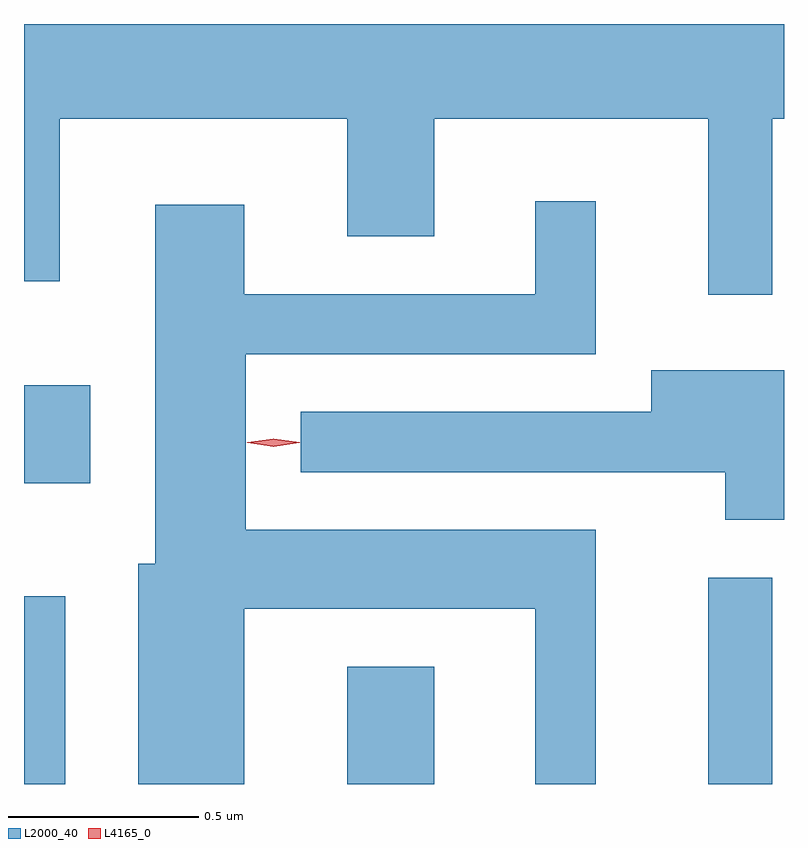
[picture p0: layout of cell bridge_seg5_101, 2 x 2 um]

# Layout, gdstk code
import gdstk
lib = gdstk.Library(unit=1e-6, precision=1e-09)
def R(c, l, rs):  # rectangles x0, y0, x1, y1
    for r in rs: c.add(gdstk.rectangle(r[:2], r[2:], *l))
def P(c, l, *ps):  # polygons
    for p in ps: c.add(gdstk.Polygon(p, *l))
L2000_40 = (2000, 40)
L4165_0 = (4165, 0)

bridge_seg5_101 = lib.new_cell('bridge_seg5_101')
R(bridge_seg5_101, L2000_40, [(1059.66,1461.705,1059.769,1462.199), (1060.511,1461.705,1060.739,1462.014), (1061.461,1461.705,1061.629,1462.248), (1059.66,1462.496,1059.834,1462.754)])
P(bridge_seg5_101, L2000_40, [(1061.629,1463.456),(1061.66,1463.456),(1061.66,1463.705),(1059.66,1463.705),(1059.66,1463.028),(1059.754,1463.028),(1059.754,1463.456),(1060.511,1463.456),(1060.511,1463.146),(1060.739,1463.146),(1060.739,1463.456),(1061.461,1463.456),(1061.461,1462.993),(1061.629,1462.993)],
  [(1060.239,1462.166),(1061.006,1462.166),(1061.006,1461.705),(1061.164,1461.705),(1061.164,1462.374),(1060.244,1462.374),(1060.244,1462.836),(1061.164,1462.836),(1061.164,1463.238),(1061.006,1463.238),(1061.006,1462.994),(1060.239,1462.994),(1060.239,1463.229),(1060.006,1463.229),(1060.006,1462.284),(1059.961,1462.284),(1059.961,1461.705),(1060.239,1461.705)],
  [(1061.66,1462.794),(1061.311,1462.794),(1061.311,1462.684),(1060.388,1462.684),(1060.388,1462.526),(1061.506,1462.526),(1061.506,1462.401),(1061.66,1462.401)])
P(bridge_seg5_101, L4165_0, [(1060.317,1462.593),(1060.247,1462.603),(1060.247,1462.603),(1060.247,1462.604),(1060.317,1462.613),(1060.386,1462.604),(1060.386,1462.603),(1060.386,1462.603)],
  [(1060.316,1462.593),(1060.25,1462.603),(1060.25,1462.603),(1060.25,1462.604),(1060.316,1462.613),(1060.382,1462.604),(1060.383,1462.603),(1060.382,1462.603)])

lib.write_gds('bridge_seg5_101.gds')
